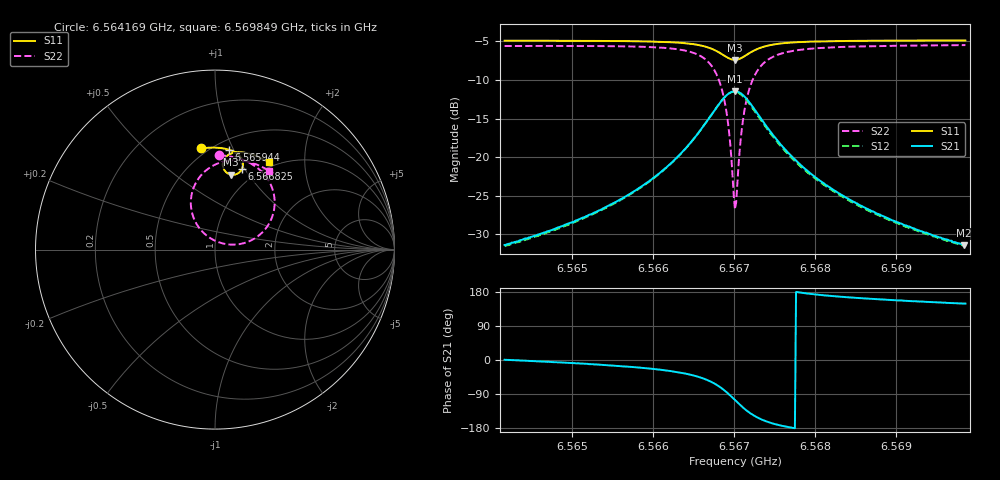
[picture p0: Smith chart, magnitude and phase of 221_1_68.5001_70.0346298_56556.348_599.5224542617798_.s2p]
#  HZ  S  RI  R  50.00
! Rohde & Schwarz Vector Network Analyzer
! Rohde-Schwarz,ZNB20-2Port,1311601062101988,3.16
! Created: UTC 3/20/2024, 4:58:32 PM
! freq[Hz]  re:S11  im:S11  re:S21  im:S21  re:S12  im:S12  re:S22  im:S22
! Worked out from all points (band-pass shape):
!   401 points, 6.564169 GHz to 6.569849 GHz, reference 50 ohm
!   highest |S21| = -11.46 dB at 6.567009 GHz (marker M1); lowest = -31.5 dB at 6.569835 GHz (marker M2)
!   |S21| within 3 dB of the highest: 6.566723 GHz to 6.567293 GHz (569.8 kHz wide, 0.00868 % of centre)
!   lowest |S11| = -7.4 dB at 6.567009 GHz (marker M3), VSWR 2.49, Z = 40.5 + j41.5 ohm
!   |S11| at or under -10 dB: nowhere
!   |S22| runs from -26.8 to -5.5 dB; largest |S21 - S12| = 0.012
!   S11 on the Smith chart (normalised r, x): 6.564169 GHz: 0.46, +0.76; 6.565944 GHz: 0.59, +0.96; 6.566825 GHz: 0.84, +0.97; 6.569849 GHz: 0.93, +1.34
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6.5641694e9  -0.0768 0.5639  0.0269 0.000315  0.0264 -0.000193  0.0225 0.5251
6.5651208e9  0.000451 0.568  0.0395 -0.00668  0.0389 -0.00717  0.1106 0.5139
6.5659444e9  0.0755 0.5576  0.0641 -0.0263  0.0631 -0.0271  0.212 0.4725
6.5660722e9  0.0885 0.5534  0.0705 -0.0333  0.0696 -0.0342  0.2324 0.4583
6.5663703e9  0.1218 0.5359  0.0898 -0.0623  0.0885 -0.0635  0.288 0.401
6.5665975e9  0.1477 0.5073  0.1039 -0.112  0.1016 -0.1142  0.3285 0.3049
6.5667253e9  0.156 0.4786  0.0989 -0.1622  0.0951 -0.1652  0.3264 0.2089
6.5668247e9  0.1502 0.4489  0.0718 -0.2133  0.0651 -0.2162  0.2791 0.113
6.5669099e9  0.1289 0.4252  0.0185 -0.2522  0.00879 -0.2528  0.1823 0.043
6.5669383e9  0.1182 0.42  -0.00566 -0.2597  -0.0163 -0.2589  0.1381 0.0308
6.5669951e9  0.0933 0.4171  -0.0591 -0.2605  -0.0701 -0.2559  0.0432 0.0342
6.5670093e9  0.0872 0.4182  -0.0725 -0.2573  -0.0833 -0.2517  0.0198 0.0413
6.5670377e9  0.0751 0.4224  -0.098 -0.2471  -0.1077 -0.2398  -0.0236 0.0621
6.5670803e9  0.06 0.4332  -0.1304 -0.2239  -0.138 -0.2144  -0.0767 0.1067
6.5671229e9  0.0497 0.4475  -0.1535 -0.1947  -0.1584 -0.1843  -0.1123 0.1608
6.5671797e9  0.0439 0.4681  -0.1695 -0.1541  -0.1716 -0.1436  -0.1331 0.2339
6.5672649e9  0.0476 0.495  -0.1709 -0.1012  -0.1698 -0.0927  -0.1256 0.3255
6.5675205e9  0.0866 0.5343  -0.1283 -0.0222  -0.1254 -0.0185  -0.029 0.4569
6.5679607e9  0.1448 0.5426  -0.0764 0.00808  -0.0746 0.00924  0.0922 0.4975
6.5689121e9  0.2313 0.5203  -0.0369 0.0145  -0.0361 0.0147  0.2214 0.4781
6.5698351e9  0.2984 0.4867  -0.0229 0.0137  -0.0224 0.014  0.2999 0.4404
6.5698493e9  0.2994 0.4862  -0.0228 0.0138  -0.0223 0.0141  0.3009 0.4398
